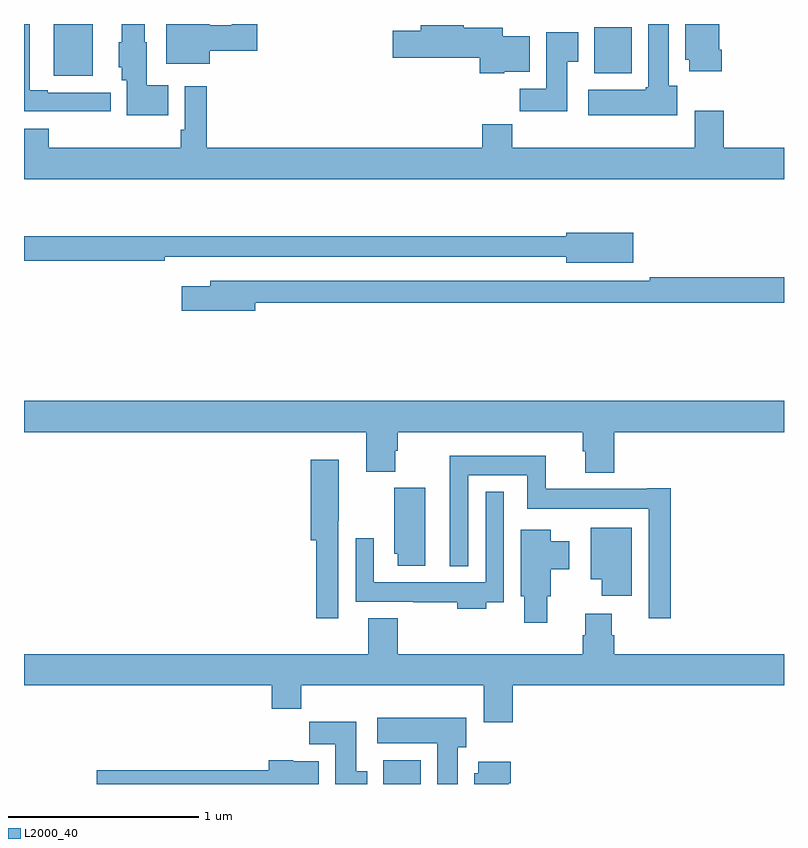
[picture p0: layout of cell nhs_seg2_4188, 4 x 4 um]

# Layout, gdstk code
import gdstk
lib = gdstk.Library(unit=1e-6, precision=1e-09)
def R(c, l, rs):  # rectangles x0, y0, x1, y1
    for r in rs: c.add(gdstk.rectangle(r[:2], r[2:], *l))
def P(c, l, *ps):  # polygons
    for p in ps: c.add(gdstk.Polygon(p, *l))
L2000_40 = (2000, 40)

nhs_seg2_4188 = lib.new_cell('nhs_seg2_4188')
R(nhs_seg2_4188, L2000_40, [(338.891,629.8,339.088,629.926), (337.157,633.527,337.363,633.8), (340.001,633.542,340.198,633.784)])
P(nhs_seg2_4188, L2000_40, [(340.673,633.664),(340.66,633.664),(340.66,633.8),(340.481,633.8),(340.481,633.612),(340.502,633.612),(340.502,633.552),(340.673,633.552)],
  [(337.76,633.478),(337.645,633.478),(337.645,633.705),(337.636,633.705),(337.636,633.8),(337.514,633.8),(337.514,633.705),(337.499,633.705),(337.499,633.573),(337.514,633.573),(337.514,633.504),(337.541,633.504),(337.541,633.32),(337.76,633.32)],
  [(337.456,633.438),(337.126,633.438),(337.126,633.451),(337.029,633.451),(337.029,633.8),(337,633.8),(337,633.342),(337.213,633.342),(337.213,633.341),(337.456,633.341)],
  [(337.978,633.659),(338.227,633.659),(338.227,633.8),(338.094,633.8),(338.094,633.793),(337.978,633.793),(337.978,633.8),(337.748,633.8),(337.748,633.59),(337.978,633.59)],
  [(340.438,633.474),(340.393,633.474),(340.393,633.8),(340.286,633.8),(340.286,633.468),(340.273,633.468),(340.273,633.454),(339.969,633.454),(339.969,633.32),(340.438,633.32)],
  [(339.528,633.548),(339.661,633.548),(339.661,633.736),(339.52,633.736),(339.52,633.781),(339.314,633.781),(339.314,633.794),(339.089,633.794),(339.089,633.764),(338.94,633.764),(338.94,633.622),(339.398,633.622),(339.398,633.542),(339.528,633.542)],
  [(339.859,633.601),(339.916,633.601),(339.916,633.757),(339.749,633.757),(339.749,633.46),(339.61,633.46),(339.61,633.342),(339.859,633.342)],
  [(341,633.148),(340.682,633.148),(340.682,633.343),(340.529,633.343),(340.529,633.148),(339.569,633.148),(339.569,633.272),(339.413,633.272),(339.413,633.148),(337.961,633.148),(337.961,633.472),(337.845,633.472),(337.845,633.244),(337.825,633.244),(337.825,633.148),(337.13,633.148),(337.13,633.25),(337,633.25),(337,632.984),(341,632.984)],
  [(340.207,632.701),(339.854,632.701),(339.854,632.683),(337,632.683),(337,632.554),(337.742,632.554),(337.742,632.574),(339.854,632.574),(339.854,632.543),(340.207,632.543)],
  [(338.218,632.332),(341,632.332),(341,632.468),(340.294,632.468),(340.294,632.448),(337.979,632.448),(337.979,632.419),(337.83,632.419),(337.83,632.29),(338.218,632.29)],
  [(340.106,631.652),(341,631.652),(341,631.816),(337,631.816),(337,631.652),(338.801,631.652),(338.801,631.444),(338.953,631.444),(338.953,631.553),(338.966,631.553),(338.966,631.652),(339.941,631.652),(339.941,631.551),(339.953,631.551),(339.953,631.439),(340.106,631.439)],
  [(340.403,631.357),(340.28,631.357),(340.28,631.354),(339.746,631.354),(339.746,631.528),(339.242,631.528),(339.242,630.947),(339.339,630.947),(339.339,631.424),(339.648,631.424),(339.648,631.25),(340.287,631.25),(340.287,630.672),(340.403,630.672)],
  [(338.655,631.186),(338.656,631.186),(338.656,631.507),(338.51,631.507),(338.51,631.082),(338.539,631.082),(338.539,630.672),(338.655,630.672)],
  [(339.112,631.359),(338.948,631.359),(338.948,631.011),(338.966,631.011),(338.966,630.948),(339.112,630.948)],
  [(339.433,630.756),(339.525,630.756),(339.525,631.339),(339.429,631.339),(339.429,630.862),(338.841,630.862),(338.841,631.093),(338.745,631.093),(338.745,630.758),(339.049,630.758),(339.049,630.756),(339.281,630.756),(339.281,630.722),(339.433,630.722)],
  [(340.198,631.15),(339.983,631.15),(339.983,630.878),(340.04,630.878),(340.04,630.792),(340.198,630.792)],
  [(339.754,630.789),(339.772,630.789),(339.772,630.931),(339.871,630.931),(339.871,631.078),(339.772,631.078),(339.772,631.138),(339.614,631.138),(339.614,630.789),(339.632,630.789),(339.632,630.648),(339.754,630.648)],
  [(339.572,630.32),(341,630.32),(341,630.484),(340.106,630.484),(340.106,630.582),(340.093,630.582),(340.093,630.697),(339.953,630.697),(339.953,630.582),(339.941,630.582),(339.941,630.484),(338.966,630.484),(338.966,630.673),(338.813,630.673),(338.813,630.484),(337,630.484),(337,630.32),(338.303,630.32),(338.303,630.196),(338.459,630.196),(338.459,630.32),(339.419,630.32),(339.419,630.126),(339.572,630.126)],
  [(339.283,629.994),(339.328,629.994),(339.328,630.148),(338.859,630.148),(338.859,630.014),(339.176,630.014),(339.176,629.8),(339.283,629.8)],
  [(338.806,629.868),(338.749,629.868),(338.749,630.127),(338.5,630.127),(338.5,630.008),(338.639,630.008),(338.639,629.8),(338.806,629.8)],
  [(338.551,629.92),(338.418,629.92),(338.418,629.926),(338.288,629.926),(338.288,629.872),(337.382,629.872),(337.382,629.8),(338.551,629.8)],
  [(339.55,629.804),(339.563,629.804),(339.563,629.917),(339.392,629.917),(339.392,629.856),(339.371,629.856),(339.371,629.8),(339.55,629.8)])

lib.write_gds('nhs_seg2_4188.gds')
